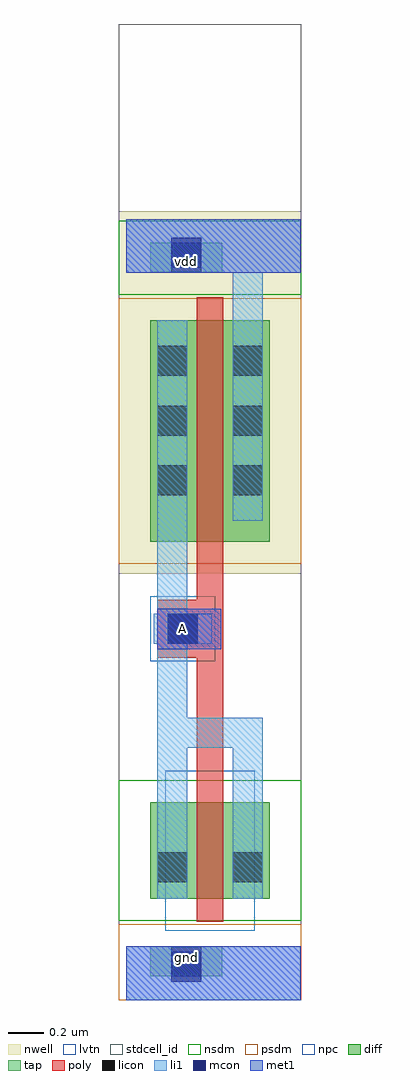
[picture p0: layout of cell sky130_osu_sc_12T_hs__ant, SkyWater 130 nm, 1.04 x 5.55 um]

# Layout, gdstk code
import gdstk
lib = gdstk.Library(unit=1e-6, precision=1e-09)
def R(c, l, rs):  # rectangles x0, y0, x1, y1
    for r in rs: c.add(gdstk.rectangle(r[:2], r[2:], *l))
def A(c, l, x, y, w, h, nx, ny, dx, dy):  # array of equal rectangles
    R(c, l, [(x+i*dx, y+j*dy, x+i*dx+w, y+j*dy+h) for i in range(nx) for j in range(ny)])
nwell = (64, 20)
diff = (65, 20)
tap = (65, 44)
poly = (66, 20)
licon = (66, 44)
li1 = (67, 20)
mcon = (67, 44)
met1 = (68, 20)
stdcell_id = (81, 4)
nsdm = (93, 44)
psdm = (94, 20)
npc = (95, 20)
lvtn = (125, 44)

sky130_osu_sc_12t_hs__an = lib.new_cell('sky130_osu_sc_12T_hs__ant')
R(sky130_osu_sc_12t_hs__an, nwell, [(-0.045,2.425,0.995,4.485)])
R(sky130_osu_sc_12t_hs__an, diff, [(0.135,0.575,0.815,1.125), (0.135,2.605,0.815,3.865)])
R(sky130_osu_sc_12t_hs__an, tap, [(0.135,0.135,0.545,0.305), (0.135,4.135,0.545,4.305)])
R(sky130_osu_sc_12t_hs__an, poly, [(0.4,0.445,0.55,1.945), (0.175,1.945,0.55,2.275), (0.4,2.275,0.55,3.995)])
A(sky130_osu_sc_12t_hs__an, licon, 0.175, 2.87, 0.17, 0.17, 1, 3, 0, 0.34)
A(sky130_osu_sc_12t_hs__an, licon, 0.605, 2.87, 0.17, 0.17, 1, 3, 0, 0.34)
R(sky130_osu_sc_12t_hs__an, licon, [(0.255,0.135,0.425,0.305), (0.175,0.67,0.345,0.84), (0.605,0.67,0.775,0.84), (0.235,2.025,0.405,2.195), (0.255,4.135,0.425,4.305)])
R(sky130_osu_sc_12t_hs__an, li1, [(0,0,0.99,0.305), (0.175,0.575,0.345,1.435), (0.605,0.575,0.775,1.435), (0.175,1.435,0.775,1.605), (0.175,1.605,0.345,2.025), (0.155,2.025,0.485,2.195), (0.175,2.195,0.345,3.865), (0.605,2.725,0.775,4.135), (0,4.135,0.99,4.44)])
R(sky130_osu_sc_12t_hs__an, mcon, [(0.255,0.105,0.425,0.275), (0.235,2.025,0.405,2.195), (0.255,4.165,0.425,4.335)])
R(sky130_osu_sc_12t_hs__an, met1, [(0,0,0.99,0.305), (0.175,1.995,0.54,2.225), (0,4.135,0.99,4.44)])
R(sky130_osu_sc_12t_hs__an, stdcell_id, [(-0.045,0,0.995,5.55)])
R(sky130_osu_sc_12t_hs__an, nsdm, [(-0.045,0.45,0.995,1.25), (-0.045,4.01,0.995,4.43)])
R(sky130_osu_sc_12t_hs__an, psdm, [(-0.045,0,0.995,0.43), (-0.045,2.48,0.995,3.99)])
R(sky130_osu_sc_12t_hs__an, npc, [(0.135,1.925,0.505,2.295)])
R(sky130_osu_sc_12t_hs__an, lvtn, [(0.22,0.395,0.73,1.305)])
sky130_osu_sc_12t_hs__an.add(gdstk.Label('gnd', (0.34,0.24), layer=68, texttype=16))
sky130_osu_sc_12t_hs__an.add(gdstk.Label('vdd', (0.34,4.2), layer=68, texttype=16))
sky130_osu_sc_12t_hs__an.add(gdstk.Label('A', (0.32,2.11), layer=68, texttype=5))

lib.write_gds('sky130_osu_sc_12T_hs__ant.gds')
